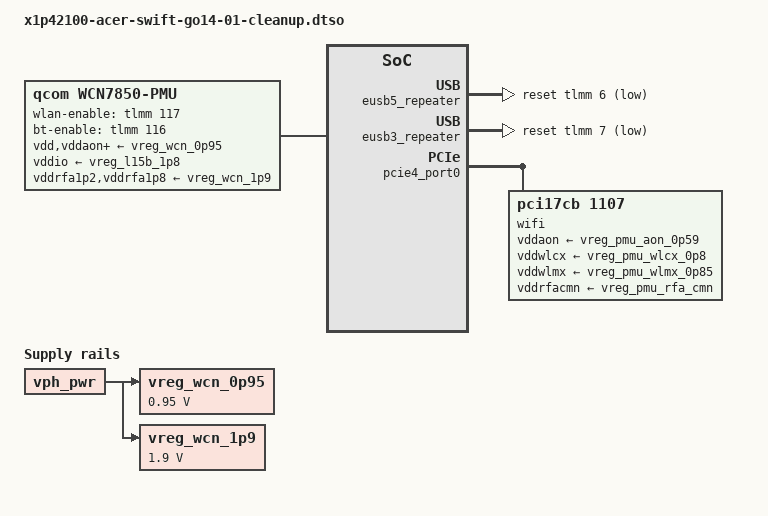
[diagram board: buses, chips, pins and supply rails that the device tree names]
// SPDX-License-Identifier: BSD-3-Clause
/*
 * Acer Swift Go 14 AI (SFG14-01): corrections to the ThinkPad-T14s-derived DT
 *
 * Ground truth is the firmware DSDT (/usr/local/src/fingerprint/dsdt-sfg14-01.dat).
 * Applied on top of /boot/dtb-fingerprint. See ~/ISSUES.md, "Device tree cleanup".
 *
 * 1. Root compatible: drop "lenovo,thinkpad-t14s". Its only kernel user is the
 *    qseecom allowlist, which already lists "acer,swift-go14-01".
 *
 * 2. eUSB2 repeaters (PTN3222 on i2c5 = ACPI I2C6). ACPI:
 *      USB3 (usb_mp): 0x43 + 0x4f, reset gpio6 + gpio184
 *      USB4 (usb_2):  0x47,        reset gpio7
 *    The T14s layout had usb_2 -> 0x43/gpio7 and usb_mp port 1 -> 0x47/gpio6, i.e.
 *    the right reset per controller but the 0x43/0x47 addresses swapped. Nodes
 *    can't be renamed from an overlay, so the reset lines and the PHY links are
 *    swapped instead: node @43 (label eusb5_repeater) now carries gpio6 and serves
 *    usb_mp port 1, node @47 (label eusb3_repeater) carries gpio7 and serves usb_2.
 *
 * 3. Touchscreen @10 on i2c8: this SKU has none (spec sheet; ACPI TSC1._STA is
 *    gated on the TPLF flag). Disabled.
 *
 * 4. Touchpad @68: enable the (previously commented-out) tpad_default pinctrl,
 *    so gpio3 gets a pull-up as in ACPI (TCPD GpioInt PullUp) instead of the
 *    pull-down it had.
 *
 * 5. WCN7850 (Wi-Fi on pcie4, BT on uart14): power sequencer instead of a bare
 *    BT enable GPIO. ACPI only switches WLAN_EN (gpio117, QPPX.GWLE) and BT_EN
 *    (gpio116, BTH0); it never touches the module's supply rails (the T14s'
 *    gpio214 3.3 V switch has no ACPI user here), so the rails are modelled as
 *    fixed, always-on supplies.
 *    hci_qca only uses the sequencer when the BT node has no enable-gpios, and an
 *    overlay can't delete properties, so build.sh removes enable-gpios/pinctrl-*
 *    from the BT node with fdtput -d after merging.
 *
 * 6. Acer vendor HID (ACPI AHID, HID 1025179A): i2c5 @ 0x71, HID descriptor at
 *    0x0002, interrupt gpio91 (active low, pull-up). Reports 1025:174B with only
 *    vendor-defined usages (pages 0xff20/0xff85/0xff05/0x88): exposed as hidraw
 *    for reverse engineering (EC controls such as fan mode, kbd backlight).
 */

/dts-v1/;
/plugin/;

#include <dt-bindings/gpio/gpio.h>
#include <dt-bindings/interrupt-controller/irq.h>

/* 1. */
&{/} {
	compatible = "acer,swift-go14-01", "qcom,x1p42100", "qcom,x1e80100";
};

/* 2. */
&eusb5_repeater {	/* redriver@43 */
	reset-gpios = <&tlmm 6 GPIO_ACTIVE_LOW>;
	pinctrl-0 = <&eusb3_reset_n>;
};

&eusb3_repeater {	/* redriver@47 */
	reset-gpios = <&tlmm 7 GPIO_ACTIVE_LOW>;
	pinctrl-0 = <&eusb5_reset_n>;
};

&usb_2_hsphy {
	phys = <&eusb3_repeater>;
};

&usb_mp_hsphy1 {
	phys = <&eusb5_repeater>;
};

/* 3. */
&{/soc@0/geniqup@ac0000/i2c@a80000/touchscreen@10} {
	status = "disabled";
};

/* 4. */
&{/soc@0/geniqup@bc0000/i2c@b80000/touchpad@68} {
	pinctrl-0 = <&tpad_default>;
	pinctrl-names = "default";
};

/* 5. */
&{/} {
	vreg_wcn_0p95: regulator-wcn-0p95 {
		compatible = "regulator-fixed";

		regulator-name = "VREG_WCN_0P95";
		regulator-min-microvolt = <950000>;
		regulator-max-microvolt = <950000>;

		vin-supply = <&vph_pwr>;

		regulator-always-on;
		regulator-boot-on;
	};

	vreg_wcn_1p9: regulator-wcn-1p9 {
		compatible = "regulator-fixed";

		regulator-name = "VREG_WCN_1P9";
		regulator-min-microvolt = <1900000>;
		regulator-max-microvolt = <1900000>;

		vin-supply = <&vph_pwr>;

		regulator-always-on;
		regulator-boot-on;
	};

	wcn7850-pmu {
		compatible = "qcom,wcn7850-pmu";

		vdd-supply = <&vreg_wcn_0p95>;
		vddio-supply = <&vreg_l15b_1p8>;
		vddaon-supply = <&vreg_wcn_0p95>;
		vdddig-supply = <&vreg_wcn_0p95>;
		vddrfa1p2-supply = <&vreg_wcn_1p9>;
		vddrfa1p8-supply = <&vreg_wcn_1p9>;

		wlan-enable-gpios = <&tlmm 117 GPIO_ACTIVE_HIGH>;
		bt-enable-gpios = <&tlmm 116 GPIO_ACTIVE_HIGH>;

		pinctrl-0 = <&wcn_wlan_bt_en>;
		pinctrl-names = "default";

		regulators {
			vreg_pmu_rfa_cmn: ldo0 {
				regulator-name = "vreg_pmu_rfa_cmn";
			};

			vreg_pmu_aon_0p59: ldo1 {
				regulator-name = "vreg_pmu_aon_0p59";
			};

			vreg_pmu_wlcx_0p8: ldo2 {
				regulator-name = "vreg_pmu_wlcx_0p8";
			};

			vreg_pmu_wlmx_0p85: ldo3 {
				regulator-name = "vreg_pmu_wlmx_0p85";
			};

			vreg_pmu_btcmx_0p85: ldo4 {
				regulator-name = "vreg_pmu_btcmx_0p85";
			};

			vreg_pmu_rfa_0p8: ldo5 {
				regulator-name = "vreg_pmu_rfa_0p8";
			};

			vreg_pmu_rfa_1p2: ldo6 {
				regulator-name = "vreg_pmu_rfa_1p2";
			};

			vreg_pmu_rfa_1p8: ldo7 {
				regulator-name = "vreg_pmu_rfa_1p8";
			};

			vreg_pmu_pcie_0p9: ldo8 {
				regulator-name = "vreg_pmu_pcie_0p9";
			};

			vreg_pmu_pcie_1p8: ldo9 {
				regulator-name = "vreg_pmu_pcie_1p8";
			};
		};
	};
};

&tlmm {
	wcn_wlan_bt_en: wcn-wlan-bt-en-state {
		pins = "gpio116", "gpio117";
		function = "gpio";
		drive-strength = <2>;
		bias-disable;
	};

	ahid_int_n_default: ahid-int-n-state {
		pins = "gpio91";
		function = "gpio";
		bias-pull-up;
	};
};

&pcie4_port0 {
	wifi@0 {
		compatible = "pci17cb,1107";
		reg = <0x10000 0x0 0x0 0x0 0x0>;

		vddaon-supply = <&vreg_pmu_aon_0p59>;
		vddwlcx-supply = <&vreg_pmu_wlcx_0p8>;
		vddwlmx-supply = <&vreg_pmu_wlmx_0p85>;
		vddrfacmn-supply = <&vreg_pmu_rfa_cmn>;
		vddrfa0p8-supply = <&vreg_pmu_rfa_0p8>;
		vddrfa1p2-supply = <&vreg_pmu_rfa_1p2>;
		vddrfa1p8-supply = <&vreg_pmu_rfa_1p8>;
		vddpcie0p9-supply = <&vreg_pmu_pcie_0p9>;
		vddpcie1p8-supply = <&vreg_pmu_pcie_1p8>;
	};
};

&bluetooth {

	vddaon-supply = <&vreg_pmu_aon_0p59>;
	vddwlcx-supply = <&vreg_pmu_wlcx_0p8>;
	vddwlmx-supply = <&vreg_pmu_wlmx_0p85>;
	vddrfacmn-supply = <&vreg_pmu_rfa_cmn>;
	vddrfa0p8-supply = <&vreg_pmu_rfa_0p8>;
	vddrfa1p2-supply = <&vreg_pmu_rfa_1p2>;
	vddrfa1p8-supply = <&vreg_pmu_rfa_1p8>;
};

/* 6. */
&i2c5 {
	#address-cells = <1>;
	#size-cells = <0>;

	acer_hid: hid@71 {
		compatible = "hid-over-i2c";
		reg = <0x71>;

		hid-descr-addr = <0x2>;
		interrupts-extended = <&tlmm 91 IRQ_TYPE_LEVEL_LOW>;

		pinctrl-0 = <&ahid_int_n_default>;
		pinctrl-names = "default";
	};
};
